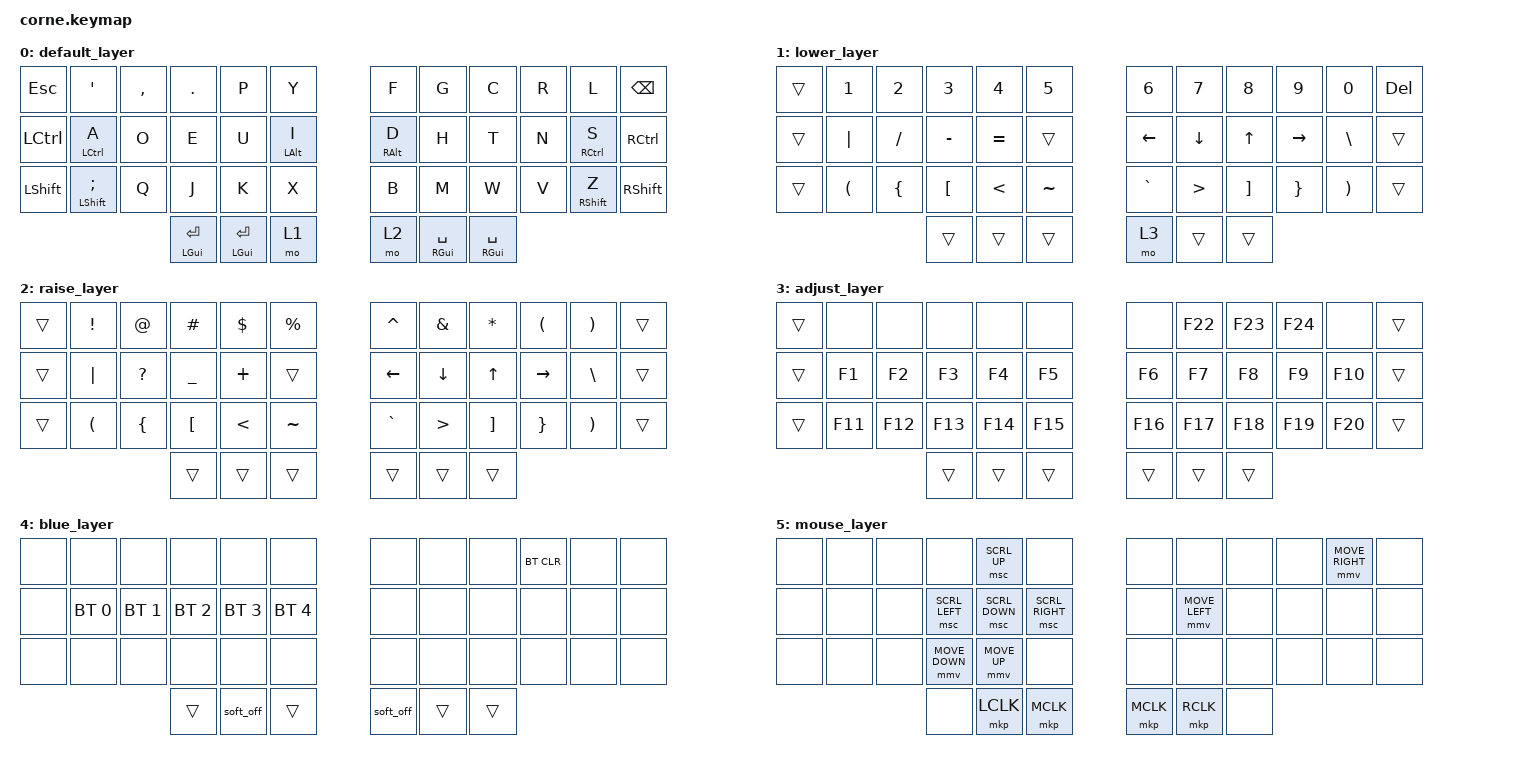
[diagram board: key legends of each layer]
/*
 * Copyright (c) 2020 The ZMK Contributors
 *
 * SPDX-License-Identifier: MIT
 */

#include <behaviors.dtsi>
#include <dt-bindings/zmk/keys.h>
#include <dt-bindings/zmk/bt.h>
#include <dt-bindings/zmk/pointing.h>

/ {

  behaviors {
        ht_hp: homerow_mods {
            compatible = "zmk,behavior-hold-tap";
            label = "HOMEROW_MODS";
            #binding-cells = <2>;
            tapping-term-ms = <150>;
            quick-tap-ms = <0>;
            flavor = "tap-preferred";
            bindings = <&kp>, <&kp>;
        };
    };


        combos {
              compatible = "zmk,combos";
              combo_esc {
                  timeout-ms = <200>;
                  key-positions = <3 4>;
                  bindings = <&kp ESC>;
              };
              combo_tab {
                  timeout-ms = <200>;
                  key-positions = <7 8>;
                  bindings = <&kp TAB>;
              };
              combo_bspc {
                  timeout-ms = <200>;
                  key-positions = <31 32>;
                  bindings = <&kp BSPC>;
              };
              combo_del {
                  timeout-ms = <200>;
                  key-positions = <9 10>;
                  bindings = <&kp DEL>;
              };
              combo_mod4 {
                  timeout-ms = <200>;
                  key-positions = <6 10>;
                  bindings = <&mo 4>;
              };
              combo_mod5 {
                  timeout-ms = <200>;
                  key-positions = <1 5>;
                  bindings = <&tog 5>;
              };
        };

               
        keymap {
                compatible = "zmk,keymap";

                default_layer {
                        bindings = <
   &kp ESC   &kp SQT  &kp COMMA &kp DOT &kp P &kp Y   &kp F &kp G  &kp C &kp R &kp L &kp BSPC
   &kp LCTRL &ht_hp LCTRL A    &kp O     &kp E   &kp U &ht_hp LALT I    &ht_hp RALT D  &kp H  &kp T &kp N &ht_hp RCTRL S  &kp RCTRL
   &kp LSHIFT &ht_hp LSHIFT SEMI &kp Q     &kp J   &kp K &kp X   &kp B &kp M  &kp W &kp V &ht_hp RSHIFT Z  &kp RSHIFT
                            &mt LGUI RET &mt LGUI RET &mo 1   &mo 2 &mt RGUI SPACE &mt RGUI SPACE
                        >;
                };
    
                lower_layer {
                        bindings = <
   &trans &kp N1 &kp N2 &kp N3 &kp N4 &kp N5   &kp N6 &kp N7 &kp N8 &kp N9 &kp N0 &kp DEL
   &trans &kp PIPE  &kp FSLH  &kp MINUS &kp EQUAL &trans      &kp LEFT  &kp DOWN  &kp UP    &kp RIGHT &kp BSLH  &trans
   &trans &kp LPAR  &kp LBRC  &kp LBKT  &kp LT    &kp TILDE   &kp GRAVE &kp GT    &kp RBKT  &kp RBRC  &kp RPAR  &trans
                          	  &trans    &trans    &trans      &mo 3     &trans    &trans
                        >;
                };

                raise_layer {
                        bindings = <
   &trans &kp EXCL &kp AT   &kp HASH  &kp DLLR  &kp PRCNT   &kp CARET &kp AMPS &kp STAR &kp LPAR  &kp RPAR &trans
   &trans &kp PIPE &kp QMARK &kp UNDER &kp PLUS &trans      &kp LEFT  &kp DOWN &kp UP   &kp RIGHT &kp BSLH &trans
   &trans &kp LPAR &kp LBRC &kp LBKT  &kp LT    &kp TILDE   &kp GRAVE &kp GT   &kp RBKT &kp RBRC  &kp RPAR &trans
                          	&trans    &trans    &trans       &trans    &trans   &trans
                        >;
                };
                
                adjust_layer {
                        bindings = <
   &trans &none   &none   &none      &none    &none    &none     &kp F22 &kp F23 &kp F24 &none   &trans 
   &trans &kp F1  &kp F2  &kp F3     &kp F4   &kp F5      &kp F6    &kp F7  &kp F8  &kp F9  &kp F10 &trans
   &trans &kp F11 &kp F12 &kp F13    &kp F14  &kp F15     &kp F16   &kp F17 &kp F18 &kp F19 &kp F20 &trans
                         &trans     &trans   &trans      &trans    &trans &trans
                        >;
                };

                blue_layer {
                        bindings = <
   &none      &none   &none        &none        &none        &none        &none &none &none &bt BT_CLR &none &none
   &none      &bt BT_SEL 0 &bt BT_SEL 1 &bt BT_SEL 2 &bt BT_SEL 3 &bt BT_SEL 4   &none &none &none &none &none &none
   &none      &none        &none        &none        &none        &none          &none &none &none &none &none &none
                           &trans     &soft_off   &trans      &soft_off    &trans &trans
                        >;
                };

                mouse_layer {
                        bindings = <
   &none &none &none &none            &msc SCRL_UP   &none              &none &none  &none &none &mmv MOVE_RIGHT &none
   &none &none &none &msc SCRL_LEFT   &msc SCRL_DOWN &msc SCRL_RIGHT    &none  &mmv MOVE_LEFT  &none &none &none  &none
   &none &none &none &mmv MOVE_DOWN   &mmv MOVE_UP   &none              &none &none  &none &none &none  &none
                            &none &mkp LCLK &mkp MCLK      &mkp MCLK  &mkp RCLK &none
                        >;
                };
        };
};
